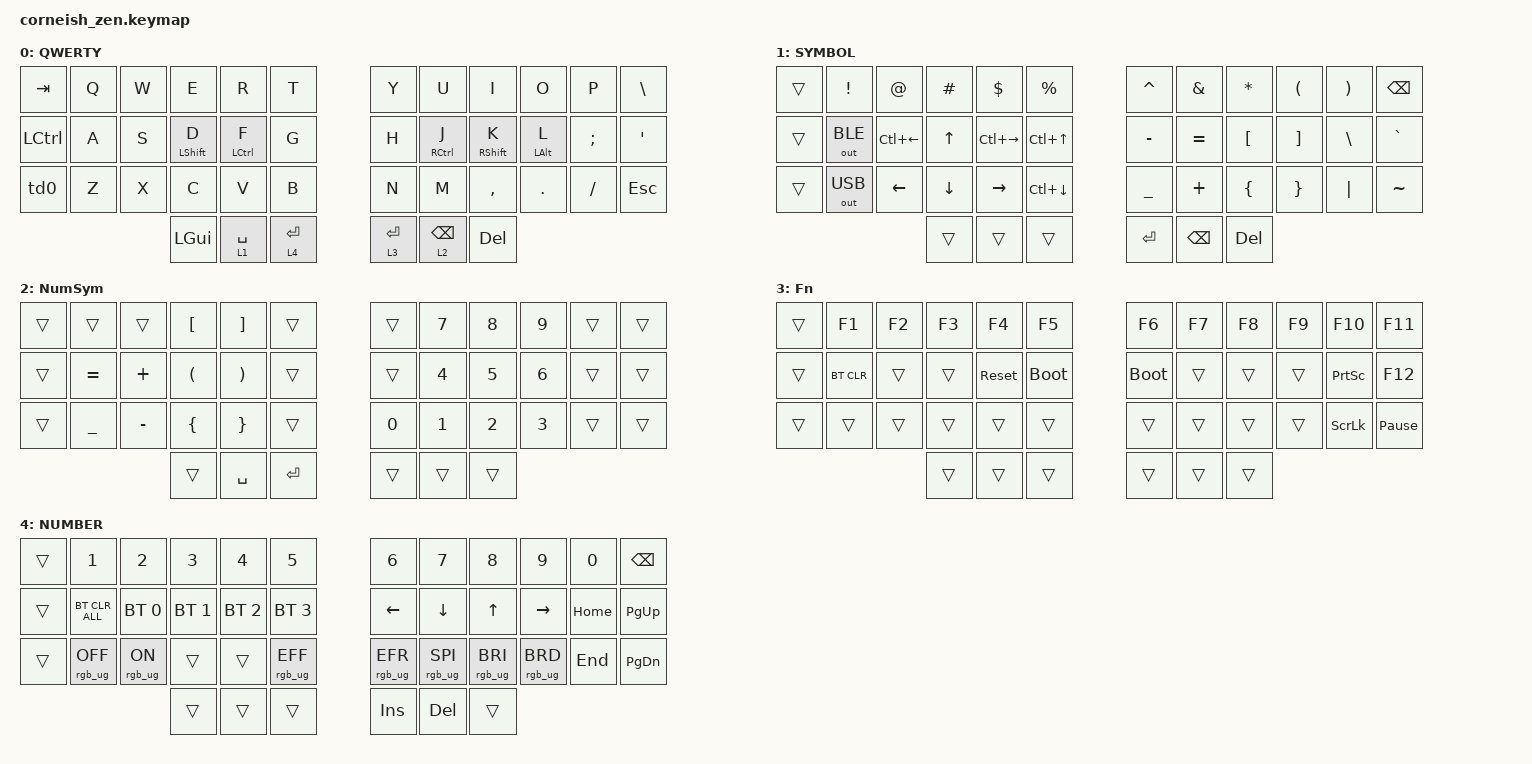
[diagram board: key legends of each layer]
/*
 * Copyright (c) 2020 The ZMK Contributors
 *
 * SPDX-License-Identifier: MIT
 */

#include <behaviors.dtsi>
#include <dt-bindings/zmk/bt.h>
#include <dt-bindings/zmk/keys.h>
#include <dt-bindings/zmk/outputs.h>
#include <dt-bindings/zmk/rgb.h>

&mt {
    quick-tap-ms = <0>;
    tapping-term-ms = <150>;
    flavor = "balanced";
};

/ {
    chosen {
        zmk,matrix_transform = &default_transform;

        // zmk,matrix_transform = &five_column_transform;
    };
};

/ {
    behaviors {
        td0: td0 {
            compatible = "zmk,behavior-tap-dance";
            label = "TD0";
            #binding-cells = <0>;
            bindings = <&kp LEFT_SHIFT>, <&kp CAPS>;
        };
    };

    keymap {
        compatible = "zmk,keymap";

        default_layer {
            display-name = "QWERTY";

            // --------------------------------------------------------------------------------
            // |  TAB |  Q  |  W  |  E  |  R  |  T  |   |  Y  |  U   |  I  |  O  |  P  | BKSP |
            // | CTRL |  A  |  S  |  D  |  F  |  G  |   |  H  |  J   |  K  |  L  |  ;  |  '   | 
            // | SHFT |  Z  |  X  |  C  |  V  |  B  |   |  N  |  M   |  ,  |  .  |  /  | ESC  |
            //                    | GUI | LWR | SPC |   | ENT | RSE  | ALT |

            bindings = <
&kp TAB    &kp Q  &kp W  &kp E             &kp R               &kp T          &kp Y        &kp U                &kp I              &kp O           &kp P     &kp BACKSLASH
&kp LCTRL  &kp A  &kp S  &mt LEFT_SHIFT D  &mt LEFT_CONTROL F  &kp G          &kp H        &mt RIGHT_CONTROL J  &mt RIGHT_SHIFT K  &mt LEFT_ALT L  &kp SEMI  &kp SQT
&td0       &kp Z  &kp X  &kp C             &kp V               &kp B          &kp N        &kp M                &kp COMMA          &kp DOT         &kp FSLH  &kp ESC
                         &kp LEFT_GUI      &lt 1 SPACE         &lt 4 ENTER    &lt 3 ENTER  &lt 2 BACKSPACE      &kp DELETE
            >;
        };

        SymArrow {
            display-name = "SYMBOL";

            // -----------------------------------------------------------------------------------------
            // |  TAB |  !  |  @  |  #  |  $  |  %  |   |  ^  |  &  |  *  |  (  |  )  | BKSP |
            // | CTRL |     |     |     |     |     |   |  -  |  =  |  [  |  ]  |  \  |  `   |
            // | SHFT |     |     |     |     |     |   |  _  |  +  |  {  |  }  | "|" |  ~   |
            //                    | GUI |     | SPC |   | ENT |     | ALT |

            bindings = <
&trans  &kp EXCL      &kp AT        &kp HASH      &kp DLLR       &kp PRCNT           &kp CARET  &kp AMPS       &kp ASTRK   &kp LPAR  &kp RPAR  &kp BSPC
&trans  &out OUT_BLE  &kp LC(LEFT)  &kp UP_ARROW  &kp LC(RIGHT)  &kp LC(UP_ARROW)    &kp MINUS  &kp EQUAL      &kp LBKT    &kp RBKT  &kp BSLH  &kp GRAVE
&trans  &out OUT_USB  &kp LEFT      &kp DOWN      &kp RIGHT      &kp LC(DOWN)        &kp UNDER  &kp PLUS       &kp LBRC    &kp RBRC  &kp PIPE  &kp TILDE
                                    &trans        &trans         &trans              &kp RET    &kp BACKSPACE  &kp DELETE
            >;
        };

        NumSym {
            bindings = <
&trans  &trans          &trans     &kp LEFT_BRACKET      &kp RIGHT_BRACKET      &trans       &trans  &kp N7        &kp N8        &kp N9        &trans  &trans
&trans  &kp EQUAL       &kp PLUS   &kp LEFT_PARENTHESIS  &kp RIGHT_PARENTHESIS  &trans       &trans  &kp NUMBER_4  &kp N5        &kp NUMBER_6  &trans  &trans
&trans  &kp UNDERSCORE  &kp MINUS  &kp LEFT_BRACE        &kp RIGHT_BRACE        &trans       &kp N0  &kp NUMBER_1  &kp NUMBER_2  &kp NUMBER_3  &trans  &trans
                                   &trans                &kp SPACE              &kp ENTER    &trans  &trans        &trans
            >;
        };

        layer_3 {
            display-name = "Fn";
            bindings = <
&trans  &kp F1      &kp F2  &kp F3  &kp F4      &kp F5         &kp F6       &kp F7  &kp F8  &kp F9  &kp F10          &kp F11
&trans  &bt BT_CLR  &trans  &trans  &sys_reset  &bootloader    &bootloader  &trans  &trans  &trans  &kp PRINTSCREEN  &kp F12
&trans  &trans      &trans  &trans  &trans      &trans         &trans       &trans  &trans  &trans  &kp SCROLLLOCK   &kp PAUSE_BREAK
                            &trans  &trans      &trans         &trans       &trans  &trans
            >;
        };

        lower_layer {
            display-name = "NUMBER";

            // -----------------------------------------------------------------------------------------
            // |  TAB |  1  |  2  |  3  |  4  |  5  |   |  6  |  7  |  8  |  9  |  0  | BKSP |
            // | BTCLR| BT1 | BT2 | BT3 | BT4 | BT5 |   | LFT | DWN |  UP | RGT |     |      |
            // | SHFT |     |     |     |     |     |   |     |     |     |     |     |      |
            //                    | GUI |     | SPC |   | ENT |     | ALT |

            bindings = <
&trans  &kp N1           &kp N2          &kp N3        &kp N4        &kp N5             &kp N6           &kp N7           &kp N8           &kp N9           &kp N0    &kp BSPC
&trans  &bt BT_CLR_ALL   &bt BT_SEL 0    &bt BT_SEL 1  &bt BT_SEL 2  &bt BT_SEL 3       &kp LEFT         &kp DOWN         &kp UP           &kp RIGHT        &kp HOME  &kp PG_UP
&trans  &rgb_ug RGB_OFF  &rgb_ug RGB_ON  &trans        &trans        &rgb_ug RGB_EFF    &rgb_ug RGB_EFR  &rgb_ug RGB_SPI  &rgb_ug RGB_BRI  &rgb_ug RGB_BRD  &kp END   &kp PG_DN
                                         &trans        &trans        &trans             &kp INS          &kp DEL          &trans
            >;
        };
    };
};
